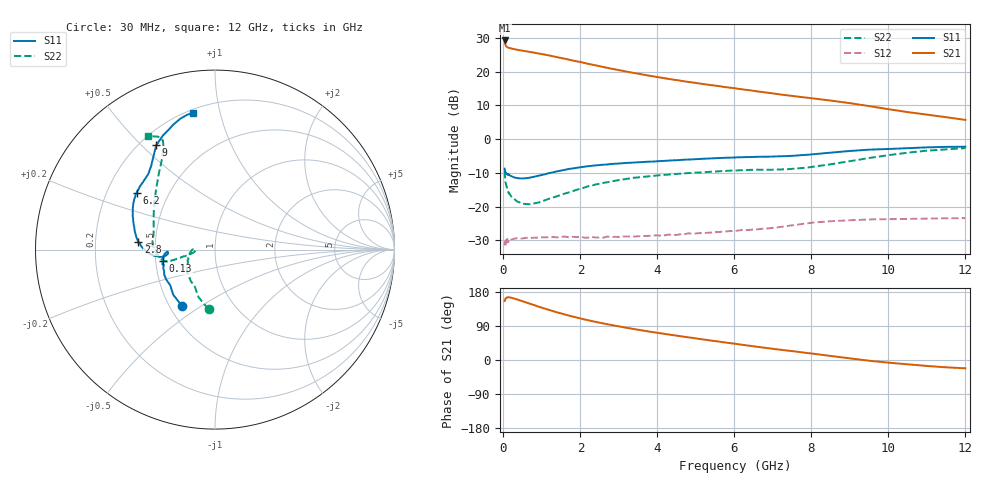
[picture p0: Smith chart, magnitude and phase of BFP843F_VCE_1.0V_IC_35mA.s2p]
! Infineon Technologies  Discrete & RF Semiconductors
! BFP843F
! VCE =  1.0 V,  IC =  35 mA
! Common Emitter S-Parameters:  Aug 2013
# GHz  S  MA  R  50
!  f  S11  S21  S12  S22
! GHz  MAG  ANG  MAG  ANG  MAG  ANG  MAG  ANG
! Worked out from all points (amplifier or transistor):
!   103 points, 30 MHz to 12 GHz, reference 50 ohm
!   highest |S21| = 29.2 dB at 30 MHz (marker M1)
!   |S21| within 3 dB of that: start of sweep to 477 MHz
!   unconditionally stable (mu >= 1): 102.2 MHz to end of sweep
!   at 400 MHz: K = 1.04, MAG = 26.7 dB, |S12| = -29.5 dB
!   at 3.7 GHz: K = 1.28, MAG = 20.6 dB, |S12| = -28.7 dB
!   at 12 GHz: K = 1.19, MAG = 11.9 dB, |S12| = -23.4 dB
!   S11 on the Smith chart (normalised r, x): 30 MHz: 0.58, -0.42; 130 MHz: 0.55, -0.08; 2.8 GHz: 0.40, +0.04; 6.2 GHz: 0.33, +0.29; 9 GHz: 0.26, +0.55; 12 GHz: 0.22, +0.83
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0.03  0.3651 -119.9  28.84 155.8  0.0267 23.1  0.3352 -96.1
0.04  0.3426 -132.8  26.42 157.8  0.0309 16.4  0.28 -109.2
0.05  0.3195 -141.2  24.98 161.2  0.026 26.4  0.2332 -119.1
0.06  0.3187 -148.7  24.29 162.5  0.0274 14.1  0.2218 -127.3
0.08  0.3078 -157.0  23.44 164.4  0.0298 11.3  0.2004 -140.2
0.13  0.2966 -167.5  22.55 165.5  0.0301 4.9  0.1639 -159.0
0.2  0.2836 -174.7  21.9 164.4  0.0325 6.7  0.1423 -171.6
0.7  0.2694 -174.0  19.43 148.0  0.0344 6.6  0.1084 -176.6
1.1  0.3037 -172.4  17.68 134.8  0.0352 5.6  0.1254 -171.4
1.3  0.3234 -173.5  16.76 128.5  0.0355 6.1  0.1374 -169.8
1.6  0.3514 -175.3  15.46 120.0  0.0361 7.1  0.1566 -167.5
2.1  0.3902 -179.5  13.41 107.2  0.0347 8.7  0.1916 -167.2
2.8  0.4282 174.6  11.02 92.4  0.0354 10.7  0.236 -165.7
3.4  0.4503 169.1  9.502 81.5  0.0361 14.4  0.2682 -166.1
4.1  0.4735 163.1  8.112 70.3  0.0371 18.3  0.2928 -168.0
5.1  0.5078 154.3  6.642 55.5  0.0406 21.9  0.3202 -174.6
6.1  0.5379 145.4  5.547 41.5  0.0443 24.3  0.3444 176.5
6.2  0.5386 144.2  5.46 40.2  0.045 24.7  0.3468 175.5
8.5  0.6301 122.7  3.719 10.7  0.0608 24.0  0.4238 143.1
9  0.6669 119.4  3.402 4.3  0.0629 21.8  0.471 134.1
10.5  0.7336 108.5  2.511 -11.4  0.0659 16.8  0.6291 117.0
12  0.7708 99.3  1.924 -21.9  0.0677 17.0  0.734 120.5
